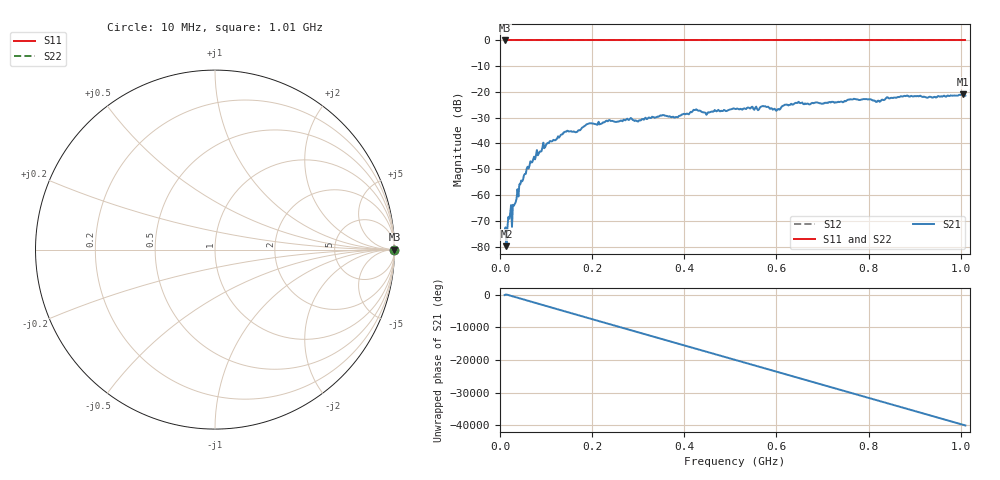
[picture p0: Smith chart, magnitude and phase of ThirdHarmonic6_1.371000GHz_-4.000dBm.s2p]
! 8/16/2025 3:31:39 PM
! C:\ANRITSUVNA\TEMP\TEMP.S2P
! CHANNEL.1
! TR.MEASUREMENT
! RAW.DATA
! RF.CORRECTION.OFF
! AVERAGING.OFF
! IF.BANDWIDTH: 5KHZ
! SWEEPTYPE:  FREQ.SWEEP(Linear)
! Reference Plane Port Info
! PORT:  PORT1  PORT2
! DISTANCE:  0  m  0  m
! TIME:  0  s  0  s
! PHASE.OFFSET:  0  deg.  0  deg.
! LOSS:  0  dB  0  dB
! REF.LOSS:  0  dB  0  dB
! REF.FREQ:  0  Hz  0  Hz
! Power Info
! POWER:  -20  dBm  -20  dBm
! EFF.POWER:  -20  dBm  -20  dBm
! SOURCE.ATTEN:  0  dB  0  dB
! TEST.ATTEN:  0  dB  0  dB
# GHZ S RI R 50.0
! FREQ.GHZ  S11RE  S11IM  S21RE  S21IM  S12RE  S12IM  S22RE  S22IM
!; PortSelection: Port_12
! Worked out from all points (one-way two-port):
!   501 points, 10 MHz to 1.01 GHz, reference 50 ohm
!   highest |S21| = -20.97 dB at 1.004 GHz (marker M1); lowest = -79.9 dB at 14 MHz (marker M2)
!   lowest |S11| = 0.0 dB at 10 MHz (marker M3)
!   |S11| at or under -10 dB: nowhere
!   |S22| runs from 0.0 to 0.0 dB; largest |S21 - S12| = 1.1
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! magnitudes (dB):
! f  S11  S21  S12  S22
! 10 MHz  0.0  -75.3  0.0  0.0
! 14 MHz  0.0  -79.9  0.0  0.0
! 18 MHz  0.0  -68.6  0.0  0.0
! 20 MHz  0.0  -69.2  0.0  0.0
! 30 MHz  0.0  -64.2  0.0  0.0
! 46 MHz  0.0  -54.4  0.0  0.0
! 76 MHz  0.0  -46.2  0.0  0.0
! 142 MHz  0.0  -35.4  0.0  0.0
! 178 MHz  0.0  -33.9  0.0  0.0
! 234 MHz  0.0  -31.4  0.0  0.0
! 344 MHz  0.0  -29.6  0.0  0.0
! 382 MHz  0.0  -29.7  0.0  0.0
! 424 MHz  0.0  -27.0  0.0  0.0
! 450 MHz  0.0  -28.2  0.0  0.0
! 510 MHz  0.0  -26.6  0.0  0.0
! 572 MHz  0.0  -25.5  0.0  0.0
! 602 MHz  0.0  -26.7  0.0  0.0
! 644 MHz  0.0  -24.3  0.0  0.0
! 678 MHz  0.0  -24.2  0.0  0.0
! 844 MHz  0.0  -22.5  0.0  0.0
! 1.004 GHz  0.0  -21.0  0.0  0.0
! 1.01 GHz  0.0  -21.4  0.0  0.0
